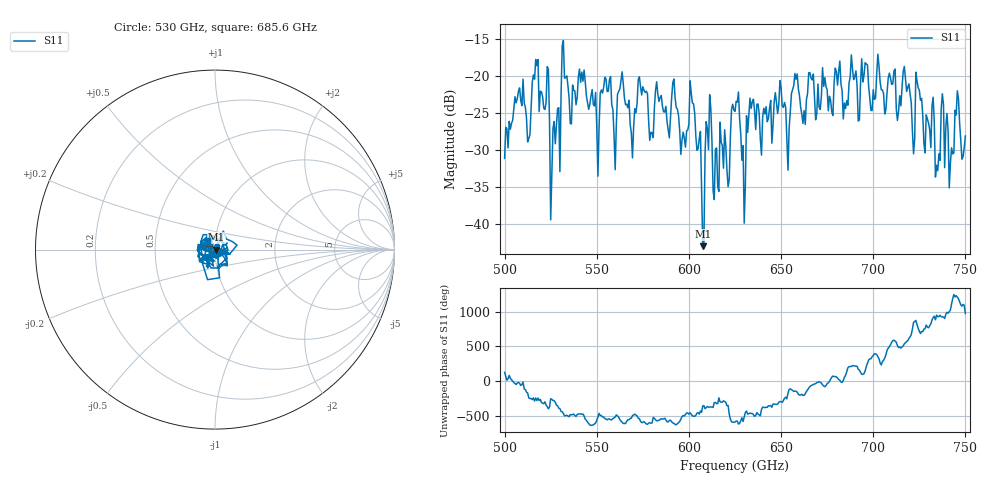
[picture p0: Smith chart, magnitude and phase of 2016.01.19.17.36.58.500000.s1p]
!Created with skrf (http://scikit-rf.org).
# GHz S RI R 50.0
!freq ReS11 ImS11
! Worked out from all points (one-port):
!   401 points, 500 GHz to 750 GHz, reference 50 ohm
!   lowest |S11| = -42.9 dB at 607.5 GHz (marker M1), VSWR 1.01, Z = 50.7 + j0.0289 ohm
!   |S11| at or under -10 dB: start of sweep to end of sweep
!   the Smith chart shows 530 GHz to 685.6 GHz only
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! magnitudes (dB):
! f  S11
! 500 GHz  -31.1
! 508.8 GHz  -23.3
! 513.1 GHz  -28.5
! 516.9 GHz  -17.8
! 526.2 GHz  -27.1
! 531.2 GHz  -16.0
! 550 GHz  -26.8
! 556.2 GHz  -22.1
! 559.4 GHz  -28.0
! 562.5 GHz  -21.8
! 569.4 GHz  -31.1
! 573.8 GHz  -21.5
! 579.4 GHz  -27.6
! 593.8 GHz  -24.5
! 601.9 GHz  -23.6
! 607.5 GHz  -42.9
! 610.6 GHz  -29.9
! 615 GHz  -29.7
! 625 GHz  -24.8
! 629.4 GHz  -29.4
! 633.8 GHz  -24.4
! 653.8 GHz  -32.7
! 656.2 GHz  -21.9
! 687.5 GHz  -20.1
! 718.8 GHz  -21.5
! 735 GHz  -32.8
! 745.6 GHz  -22.0
! 750 GHz  -28.1
